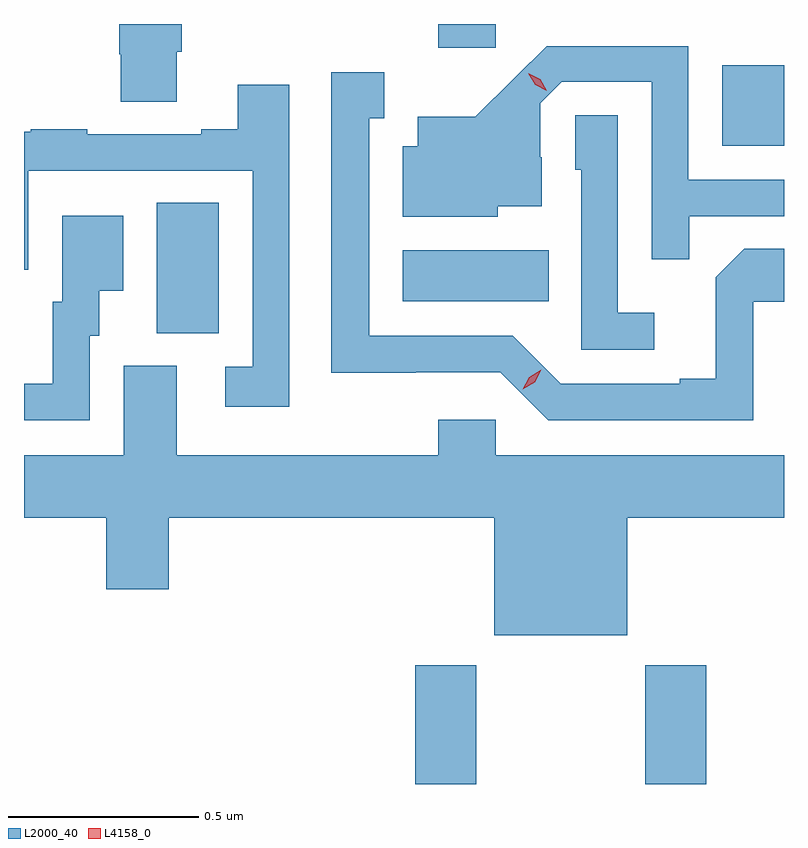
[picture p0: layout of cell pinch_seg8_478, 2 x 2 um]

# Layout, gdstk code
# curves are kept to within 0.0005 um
import gdstk
lib = gdstk.Library(unit=1e-6, precision=1e-09)
def R(c, l, rs):  # rectangles x0, y0, x1, y1
    for r in rs: c.add(gdstk.rectangle(r[:2], r[2:], *l))
def P(c, l, *ps):  # polygons
    for p in ps: c.add(gdstk.Polygon(p, *l))
L2000_40 = (2000, 40)
L4158_0 = (4158, 0)

pinch_seg8_478 = lib.new_cell('pinch_seg8_478')
R(pinch_seg8_478, L2000_40, [(117.869,1127.787,118.029,1128.1), (118.474,1127.787,118.634,1128.1), (117.188,1128.973,117.352,1129.316), (117.836,1129.058,118.22,1129.192), (118.676,1129.466,118.839,1129.678), (117.929,1129.725,118.08,1129.787)])
P(pinch_seg8_478, L2000_40, [(117.241,1129.714),(117.254,1129.714),(117.254,1129.787),(117.089,1129.787),(117.089,1129.707),(117.094,1129.707),(117.094,1129.582),(117.241,1129.582)],
  [(118.589,1129.281),(118.839,1129.281),(118.839,1129.377),(118.587,1129.377),(118.587,1129.728),(118.214,1129.728),(118.027,1129.543),(117.875,1129.543),(117.875,1129.465),(117.836,1129.465),(117.836,1129.28),(118.086,1129.28),(118.086,1129.307),(118.201,1129.307),(118.201,1129.436),(118.197,1129.436),(118.197,1129.578),(118.254,1129.635),(118.491,1129.635),(118.491,1129.168),(118.589,1129.168)],
  [(118.758,1129.056),(118.839,1129.056),(118.839,1129.196),(118.735,1129.196),(118.659,1129.12),(118.659,1128.853),(118.565,1128.853),(118.565,1128.84),(118.251,1128.84),(118.125,1128.966),(117.748,1128.966),(117.748,1129.539),(117.787,1129.539),(117.787,1129.66),(117.647,1129.66),(117.647,1128.869),(117.87,1128.869),(117.87,1128.87),(118.092,1128.87),(118.218,1128.744),(118.758,1128.744)],
  [(117.537,1129.627),(117.401,1129.627),(117.401,1129.51),(117.305,1129.51),(117.305,1129.497),(117.005,1129.497),(117.005,1129.51),(116.857,1129.51),(116.857,1129.503),(116.839,1129.503),(116.839,1129.14),(116.85,1129.14),(116.85,1129.401),(117.441,1129.401),(117.441,1128.885),(117.369,1128.885),(117.369,1128.78),(117.537,1128.78)],
  [(118.498,1129.027),(118.401,1129.027),(118.401,1129.547),(118.29,1129.547),(118.29,1129.404),(118.305,1129.404),(118.305,1128.93),(118.498,1128.93)],
  [(117.012,1128.966),(117.037,1128.966),(117.037,1129.085),(117.1,1129.085),(117.1,1129.282),(116.939,1129.282),(116.939,1129.056),(116.915,1129.056),(116.915,1128.84),(116.839,1128.84),(116.839,1128.744),(117.012,1128.744)],
  [(118.426,1128.488),(118.839,1128.488),(118.839,1128.652),(118.08,1128.652),(118.08,1128.745),(117.929,1128.745),(117.929,1128.652),(117.241,1128.652),(117.241,1128.888),(117.101,1128.888),(117.101,1128.652),(116.839,1128.652),(116.839,1128.488),(117.056,1128.488),(117.056,1128.3),(117.22,1128.3),(117.22,1128.488),(118.076,1128.488),(118.076,1128.179),(118.426,1128.179)])
P(pinch_seg8_478, L4158_0, [(118.214,1129.612),(118.184,1129.627),(118.166,1129.657),(118.166,1129.657),(118.166,1129.657),(118.197,1129.642),(118.215,1129.612),(118.215,1129.612)],
  [(118.151,1128.826),(118.151,1128.826),(118.168,1128.858),(118.2,1128.877),(118.2,1128.877),(118.2,1128.877),(118.183,1128.844),(118.151,1128.826)])

lib.write_gds('pinch_seg8_478.gds')
